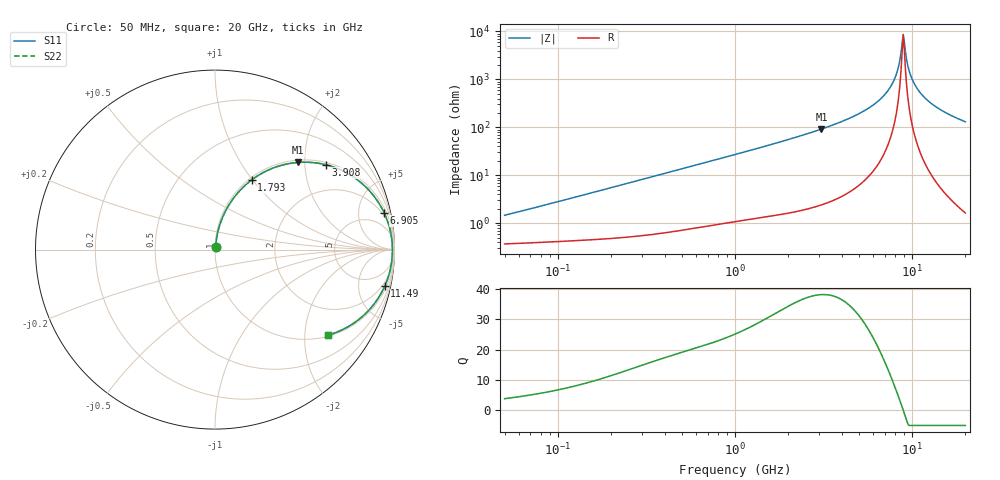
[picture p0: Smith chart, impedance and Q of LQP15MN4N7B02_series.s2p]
!Murata Part Number: LQP15MN4N7B02
!These Parameters are Measured in Series Mode Connection
!  o--[Z]--o
!Port1  Port2
!  o-------o
!Freq. Start=50[MHz] Stop=20[GHz], 401[Steps]
# Hz S RI R 50
!Freq.(Hz) S11(Real) S11(Imag) S21(Real) S21(Imag) S12(Real) S12(Imag) S22(Real) S22(Imag)
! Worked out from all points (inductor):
!   401 points, 50 MHz to 20 GHz, reference 50 ohm
!   read as one part in series: L = 4.49 nH near 51.52 MHz
!   highest Q = 38.1 at 3.075 GHz (marker M1), where L = 4.77 nH
!   self-resonance near 8.907 GHz
!   S11 on the Smith chart (normalised r, x): 50 MHz: 1.01, +0.03; 1.793 GHz: 1.03, +0.99; 3.908 GHz: 1.07, +2.55; 6.905 GHz: 1.54, +9.05; 11.49 GHz: 1.44, -9.15; 20 GHz: 1.03, -2.61
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5e7  0.00389 0.0141  0.9961 -0.0141  0.9961 -0.0141  0.00389 0.0141
1.364002e8  0.0058 0.0375  0.9942 -0.0375  0.9942 -0.0375  0.0058 0.0375
3.721004e8  0.0161 0.0995  0.9839 -0.0995  0.9839 -0.0995  0.0161 0.0995
1e9  0.077 0.2475  0.923 -0.2475  0.923 -0.2475  0.077 0.2475
1.793498e9  0.2044 0.3883  0.7956 -0.3883  0.7956 -0.3883  0.2044 0.3883
2.728004e9  0.3901 0.4747  0.6099 -0.4747  0.6099 -0.4747  0.3901 0.4747
3.075291e9  0.4601 0.4855  0.5399 -0.4855  0.5399 -0.4855  0.4601 0.4855
3.908127e9  0.6162 0.4729  0.3838 -0.4729  0.3838 -0.4729  0.6162 0.4729
5.433528e9  0.8296 0.3588  0.1704 -0.3588  0.1704 -0.3588  0.8296 0.3588
6.905011e9  0.9426 0.2049  0.0574 -0.2049  0.0574 -0.2049  0.9426 0.2049
7.442007e9  0.965 0.1477  0.035 -0.1477  0.035 -0.1477  0.965 0.1477
8.141811e9  0.9824 0.0754  0.0176 -0.0754  0.0176 -0.0754  0.9824 0.0754
8.389408e9  0.9857 0.0508  0.0143 -0.0508  0.0143 -0.0508  0.9857 0.0508
8.774992e9  0.9884 0.0135  0.0116 -0.0135  0.0116 -0.0135  0.9884 0.0135
8.907419e9  0.9886 0.00103  0.0114 -0.00103  0.0114 -0.00103  0.9886 0.00103
9.178299e9  0.9882 -0.0239  0.0118 0.0239  0.0118 0.0239  0.9882 -0.0239
9.457416e9  0.9865 -0.0488  0.0135 0.0488  0.0135 0.0488  0.9865 -0.0488
9.892087e9  0.9816 -0.0858  0.0184 0.0858  0.0184 0.0858  0.9816 -0.0858
1.050288e10  0.9707 -0.1343  0.0293 0.1343  0.0293 0.1343  0.9707 -0.1343
1.149051e10  0.9455 -0.2041  0.0545 0.2041  0.0545 0.2041  0.9455 -0.2041
1.438523e10  0.8424 -0.3527  0.1576 0.3527  0.1576 0.3527  0.8424 -0.3527
2e10  0.6292 -0.4768  0.3708 0.4768  0.3708 0.4768  0.6292 -0.4768
